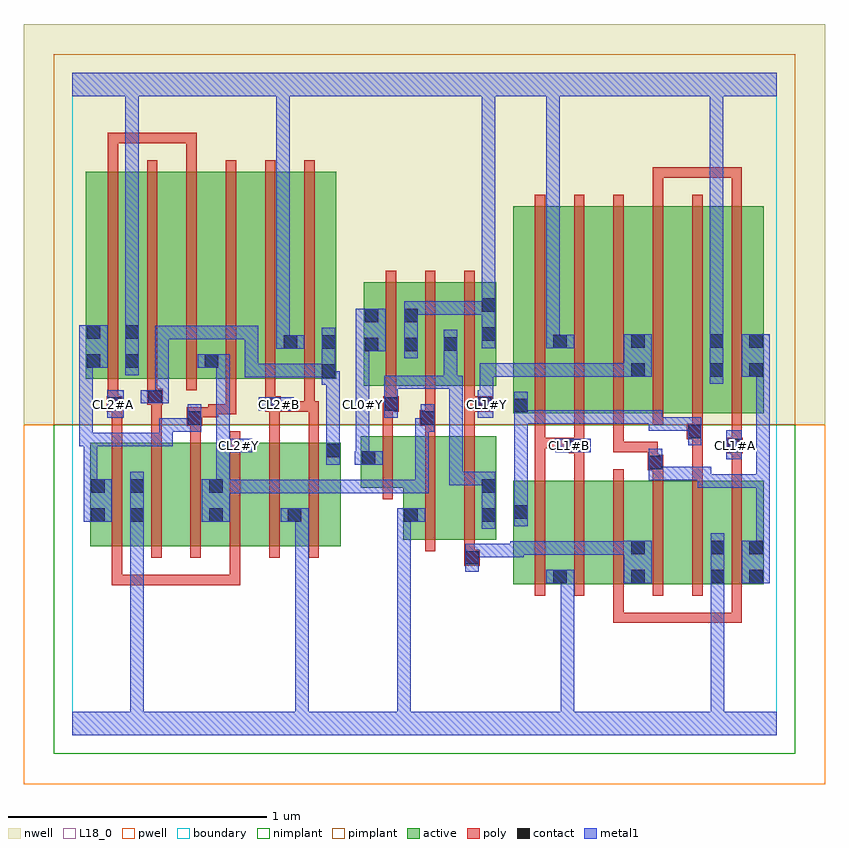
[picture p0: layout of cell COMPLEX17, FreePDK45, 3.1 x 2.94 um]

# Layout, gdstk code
import gdstk
lib = gdstk.Library(unit=1e-6, precision=1e-09)
def R(c, l, rs):  # rectangles x0, y0, x1, y1
    for r in rs: c.add(gdstk.rectangle(r[:2], r[2:], *l))
def A(c, l, x, y, w, h, nx, ny, dx, dy):  # array of equal rectangles
    R(c, l, [(x+i*dx, y+j*dy, x+i*dx+w, y+j*dy+h) for i in range(nx) for j in range(ny)])
active = (1, 0)
pwell = (2, 0)
nwell = (3, 0)
nimplant = (4, 0)
pimplant = (5, 0)
poly = (9, 0)
contact = (10, 0)
metal1 = (11, 0)
L18_0 = (18, 0)
boundary = (235, 0)

complex17 = lib.new_cell('COMPLEX17')
R(complex17, active, [(1.702,0.584,1.914,0.984), (1.854,0.584,2.034,0.984), (1.854,0.584,1.914,0.774), (2.034,0.584,2.214,0.984), (2.154,0.584,2.338,0.984), (2.154,0.584,2.214,0.982), (2.338,0.584,2.522,0.984), (2.462,0.584,2.67,0.984), (2.462,0.584,2.522,0.874), (2.61,0.584,2.67,0.984), (1.702,0.622,1.762,0.984), (0.068,0.73,0.28,1.13), (0.22,0.73,0.4,1.13), (0.4,0.73,0.584,1.13), (0.524,0.73,0.704,1.13), (0.524,0.73,0.584,0.994), (0.704,0.73,0.888,1.13), (0.828,0.73,1.036,1.13), (0.068,0.756,0.128,1.13), (0.22,0.756,0.28,0.994), (0.828,0.756,0.888,1.078), (0.976,0.756,1.036,1.13), (1.278,0.756,1.458,1.156), (1.458,0.756,1.638,1.156), (1.578,0.756,1.638,1.156), (1.278,0.822,1.338,0.956), (1.114,0.956,1.338,1.156), (1.114,0.956,1.174,1.156), (1.702,1.244,1.762,2.044), (1.702,1.244,1.914,2.044), (1.854,1.244,2.034,2.044), (2.034,1.244,2.214,2.044), (2.154,1.244,2.338,2.044), (2.338,1.244,2.518,2.044), (2.458,1.244,2.67,2.044), (2.61,1.244,2.67,2.044), (1.854,1.33,1.914,2.044), (1.126,1.35,1.186,1.75), (1.126,1.35,1.338,1.75), (1.278,1.35,1.49,1.75), (1.43,1.35,1.638,1.75), (1.278,1.352,1.338,1.75), (0.052,1.378,0.112,2.044), (0.052,1.378,0.26,2.178), (0.2,1.378,0.384,2.178), (0.384,1.378,0.568,2.178), (0.508,1.378,0.688,2.178), (0.508,1.378,0.568,2.044), (0.688,1.378,0.872,2.178), (0.812,1.378,1.02,2.178), (0.96,1.378,1.02,2.044), (2.154,1.382,2.214,2.044), (2.458,1.382,2.518,2.044), (0.2,1.41,0.26,2.044), (1.578,1.452,1.638,1.75), (0.812,1.47,0.872,2.044), (1.43,1.482,1.49,1.644)])
R(complex17, pwell, [(-0.188,-0.188,2.908,1.2)])
R(complex17, nwell, [(-0.188,1.2,2.908,2.748)])
R(complex17, nimplant, [(-0.072,-0.072,2.792,1.2)])
R(complex17, pimplant, [(-0.072,1.2,2.792,2.632)])
A(complex17, poly, 1.786, 0.54, 0.04, 0.488, 6, 1, 0.152, 0)
A(complex17, poly, 0.152, 0.686, 0.04, 0.488, 6, 1, 0.152, 0)
A(complex17, poly, 1.786, 1.2, 0.04, 0.888, 6, 1, 0.152, 0)
A(complex17, poly, 1.21, 1.306, 0.04, 0.488, 3, 1, 0.152, 0)
A(complex17, poly, 0.136, 1.334, 0.04, 0.888, 6, 1, 0.152, 0)
R(complex17, poly, [(2.09,0.434,2.13,0.58), (2.09,0.434,2.13,0.474), (2.09,0.434,2.236,0.474), (2.196,0.434,2.236,0.474), (2.196,0.434,2.236,0.474), (2.196,0.434,2.236,0.474), (2.196,0.434,2.464,0.474), (2.424,0.434,2.464,0.474), (2.424,0.434,2.464,0.474), (2.424,0.434,2.464,0.474), (2.424,0.434,2.586,0.474), (2.546,0.434,2.586,0.58), (2.546,0.434,2.586,0.474), (2.546,0.434,2.586,0.474), (2.546,0.434,2.586,0.474), (0.152,0.58,0.192,0.726), (0.152,0.58,0.192,0.62), (0.152,0.58,0.298,0.62), (0.258,0.58,0.298,0.62), (0.258,0.58,0.298,0.62), (0.258,0.58,0.298,0.62), (0.258,0.58,0.458,0.62), (0.418,0.58,0.458,0.62), (0.418,0.58,0.458,0.62), (0.418,0.58,0.458,0.62), (0.418,0.58,0.648,0.62), (0.608,0.58,0.648,0.726), (0.608,0.58,0.648,0.62), (0.608,0.58,0.648,0.62), (0.608,0.58,0.648,0.62), (1.514,0.656,1.574,0.716), (1.514,0.676,1.554,0.752), (1.362,0.712,1.402,1.2), (1.514,0.712,1.554,1.2), (1.198,0.912,1.238,1.2), (1.786,0.988,1.826,1.15), (1.938,0.988,1.978,1.13), (2.242,0.988,2.282,1.064), (2.394,0.988,2.434,1.184), (2.546,0.988,2.586,1.13), (2.222,1.024,2.282,1.084), (2.222,1.044,2.262,1.084), (2.222,1.044,2.262,1.084), (2.222,1.044,2.262,1.134), (1.918,1.09,1.978,1.15), (2.53,1.09,2.59,1.15), (2.546,1.09,2.586,1.13), (2.546,1.09,2.586,1.13), (2.09,1.094,2.13,1.24), (2.09,1.094,2.13,1.134), (2.09,1.094,2.262,1.134), (2.222,1.094,2.262,1.134), (1.786,1.11,1.826,1.15), (1.786,1.11,1.826,1.15), (1.786,1.11,1.826,1.15), (1.786,1.11,1.826,1.15), (1.786,1.11,1.826,1.15), (1.786,1.11,1.826,1.24), (1.786,1.11,1.978,1.15), (1.938,1.11,1.978,1.15), (1.938,1.11,1.978,1.15), (1.938,1.11,1.978,1.24), (2.546,1.11,2.586,1.24), (0.152,1.134,0.192,1.29), (0.304,1.134,0.344,1.318), (0.456,1.134,0.496,1.236), (0.76,1.134,0.8,1.29), (0.912,1.134,0.952,1.29), (2.374,1.144,2.434,1.204), (2.394,1.144,2.434,1.184), (2.394,1.144,2.434,1.184), (1.198,1.16,1.238,1.29), (1.362,1.16,1.402,1.236), (1.514,1.16,1.554,1.29), (2.394,1.164,2.434,1.24), (0.442,1.196,0.502,1.268), (1.342,1.196,1.402,1.256), (1.362,1.216,1.402,1.256), (1.362,1.216,1.402,1.256), (1.362,1.216,1.402,1.346), (0.462,1.228,0.564,1.268), (0.524,1.228,0.564,1.28), (0.524,1.24,0.632,1.28), (0.592,1.24,0.632,1.28), (0.592,1.24,0.632,1.28), (0.592,1.24,0.632,1.28), (0.592,1.24,0.632,1.374), (0.132,1.25,0.192,1.31), (0.152,1.25,0.192,1.29), (0.152,1.25,0.192,1.29), (0.744,1.25,0.804,1.31), (0.76,1.25,0.8,1.29), (0.76,1.25,0.8,1.29), (0.76,1.25,0.936,1.29), (0.896,1.25,0.936,1.29), (0.896,1.25,0.936,1.29), (0.896,1.25,0.936,1.29), (0.896,1.25,0.936,1.29), (0.896,1.25,0.936,1.374), (0.896,1.25,0.952,1.29), (1.198,1.25,1.24,1.29), (1.2,1.25,1.24,1.29), (1.2,1.25,1.26,1.31), (1.514,1.25,1.554,1.29), (1.514,1.25,1.554,1.29), (1.514,1.25,1.622,1.31), (0.136,1.27,0.176,1.374), (0.744,1.27,0.784,1.374), (1.21,1.27,1.25,1.346), (1.514,1.27,1.554,1.346), (0.288,1.278,0.348,1.338), (0.304,1.278,0.344,1.318), (0.304,1.278,0.344,1.318), (0.288,1.298,0.328,1.374), (2.242,2.048,2.282,2.194), (2.546,2.048,2.586,2.194), (2.242,2.154,2.282,2.194), (2.242,2.154,2.388,2.194), (2.348,2.154,2.388,2.194), (2.348,2.154,2.388,2.194), (2.348,2.154,2.388,2.194), (2.348,2.154,2.586,2.194), (2.546,2.154,2.586,2.194), (2.546,2.154,2.586,2.194), (2.546,2.154,2.586,2.194), (0.136,2.182,0.176,2.328), (0.44,2.182,0.48,2.328), (0.136,2.288,0.176,2.328), (0.136,2.288,0.176,2.328), (0.136,2.288,0.176,2.328), (0.136,2.288,0.352,2.328), (0.312,2.288,0.352,2.328), (0.312,2.288,0.458,2.328), (0.418,2.288,0.458,2.328), (0.418,2.288,0.48,2.328), (0.44,2.288,0.48,2.328)])
A(complex17, contact, 0.224, 0.826, 0.052, 0.052, 3, 1, 0.304, 0)
R(complex17, contact, [(1.858,0.588,1.91,0.64), (2.158,0.588,2.21,0.64), (2.466,0.588,2.518,0.64), (2.614,0.588,2.666,0.64), (1.518,0.66,1.57,0.712), (2.158,0.7,2.21,0.752), (2.466,0.7,2.518,0.752), (2.614,0.7,2.666,0.752), (0.072,0.826,0.124,0.878), (1.282,0.826,1.334,0.878), (1.582,0.826,1.634,0.878), (1.706,0.836,1.758,0.888), (0.072,0.938,0.124,0.99), (0.224,0.938,0.276,0.99), (0.528,0.938,0.58,0.99), (1.582,0.938,1.634,0.99), (2.226,1.028,2.278,1.08), (1.118,1.046,1.17,1.098), (0.98,1.074,1.032,1.126), (1.922,1.094,1.974,1.146), (2.534,1.094,2.586,1.146), (2.378,1.148,2.43,1.2), (0.446,1.2,0.498,1.252), (1.346,1.2,1.398,1.252), (1.706,1.248,1.758,1.3), (0.136,1.254,0.188,1.306), (0.748,1.254,0.8,1.306), (1.204,1.254,1.256,1.306), (1.566,1.254,1.618,1.306), (0.292,1.282,0.344,1.334), (0.964,1.382,1.016,1.434), (2.158,1.386,2.21,1.438), (2.462,1.386,2.514,1.438), (2.614,1.386,2.666,1.438), (0.056,1.42,0.108,1.472), (0.204,1.42,0.256,1.472), (0.512,1.42,0.564,1.472), (1.13,1.484,1.182,1.536), (1.282,1.484,1.334,1.536), (1.434,1.486,1.486,1.538), (0.816,1.494,0.868,1.546), (0.964,1.494,1.016,1.546), (1.858,1.496,1.91,1.548), (2.158,1.498,2.21,1.55), (2.462,1.498,2.514,1.55), (2.614,1.498,2.666,1.55), (1.582,1.524,1.634,1.576), (0.056,1.532,0.108,1.584), (0.204,1.532,0.256,1.584), (1.13,1.596,1.182,1.648), (1.282,1.596,1.334,1.648), (1.582,1.636,1.634,1.688)])
A(complex17, metal1, 1.896, 1.204, 0.052, 0.052, 3, 1, 0.11, 0)
A(complex17, metal1, 1.896, 1.204, 0.162, 0.052, 3, 1, 0.11, 0)
R(complex17, metal1, [(0,0,2.72,0.092), (0.224,0.04,0.276,0.092), (0.224,0.04,0.276,0.092), (0.224,0.04,0.276,0.092), (0.224,0.04,0.276,0.092), (0.224,0.04,0.276,0.092), (0.224,0.04,0.276,0.092), (0.224,0.04,0.276,0.092), (0.224,0.04,0.276,0.092), (0.224,0.04,0.276,0.092), (0.224,0.04,0.276,0.092), (0.224,0.04,0.276,0.85), (0.86,0.04,0.912,0.092), (0.86,0.04,0.912,0.092), (0.86,0.04,0.912,0.092), (0.86,0.04,0.912,0.092), (0.86,0.04,0.912,0.092), (0.86,0.04,0.912,0.092), (0.86,0.04,0.912,0.092), (0.86,0.04,0.912,0.092), (0.86,0.04,0.912,0.878), (1.254,0.04,1.306,0.092), (1.254,0.04,1.306,0.092), (1.254,0.04,1.306,0.092), (1.254,0.04,1.306,0.092), (1.254,0.04,1.306,0.092), (1.254,0.04,1.306,0.092), (1.254,0.04,1.306,0.092), (1.254,0.04,1.306,0.092), (1.254,0.04,1.306,0.092), (1.254,0.04,1.306,0.092), (1.254,0.04,1.306,0.092), (1.254,0.04,1.306,0.092), (1.254,0.04,1.306,0.878), (1.886,0.04,1.938,0.092), (1.886,0.04,1.938,0.092), (1.886,0.04,1.938,0.092), (1.886,0.04,1.938,0.092), (1.886,0.04,1.938,0.092), (1.886,0.04,1.938,0.092), (1.886,0.04,1.938,0.092), (1.886,0.04,1.938,0.092), (1.886,0.04,1.938,0.092), (1.886,0.04,1.938,0.092), (1.886,0.04,1.938,0.092), (1.886,0.04,1.938,0.092), (1.886,0.04,1.938,0.64), (2.466,0.04,2.518,0.092), (2.466,0.04,2.518,0.092), (2.466,0.04,2.518,0.092), (2.466,0.04,2.518,0.092), (2.466,0.04,2.518,0.092), (2.466,0.04,2.518,0.092), (2.466,0.04,2.518,0.612), (2.466,0.56,2.518,0.612), (2.466,0.56,2.518,0.612), (2.466,0.56,2.518,0.612), (2.466,0.56,2.518,0.612), (2.466,0.56,2.518,0.612), (2.466,0.56,2.518,0.612), (2.466,0.56,2.518,0.78), (1.83,0.588,1.938,0.64), (2.13,0.588,2.238,0.752), (2.586,0.588,2.694,0.752), (1.518,0.632,1.57,0.74), (1.518,0.688,1.626,0.74), (1.574,0.688,1.626,0.74), (1.574,0.688,1.626,0.74), (1.574,0.688,1.626,0.74), (1.574,0.688,1.626,0.74), (1.574,0.688,1.626,0.74), (1.574,0.688,1.744,0.74), (1.692,0.688,1.744,0.74), (1.692,0.688,1.744,0.75), (1.692,0.698,1.744,0.75), (1.692,0.698,1.744,0.75), (1.692,0.698,1.744,0.75), (1.692,0.698,1.868,0.75), (1.816,0.698,1.868,0.75), (1.816,0.698,1.868,0.75), (1.816,0.698,1.868,0.75), (1.816,0.698,1.868,0.75), (1.816,0.698,1.868,0.75), (1.816,0.698,2.058,0.75), (2.006,0.698,2.058,0.75), (2.006,0.698,2.058,0.75), (2.006,0.698,2.058,0.75), (2.006,0.698,2.182,0.75), (2.642,0.7,2.694,1.008), (0.224,0.798,0.276,0.85), (0.224,0.798,0.276,0.85), (0.224,0.798,0.276,1.018), (1.582,0.798,1.634,1.018), (1.706,0.808,1.758,0.916), (0.044,0.826,0.152,0.99), (0.5,0.826,0.608,0.99), (0.804,0.826,0.912,0.878), (0.86,0.826,0.912,0.878), (0.86,0.826,0.912,0.878), (0.86,0.826,0.912,0.878), (0.86,0.826,0.912,0.878), (1.254,0.826,1.362,0.878), (1.706,0.864,1.758,1.256), (0.556,0.936,0.608,0.988), (0.556,0.936,0.608,0.988), (0.556,0.936,0.73,0.988), (0.678,0.936,0.73,0.988), (0.678,0.936,0.73,0.988), (0.678,0.936,0.73,0.988), (0.678,0.936,0.84,0.988), (0.788,0.936,0.84,0.988), (0.788,0.936,0.84,0.988), (0.788,0.936,0.84,0.988), (0.788,0.936,0.84,0.988), (0.788,0.936,0.84,0.988), (0.788,0.936,1.03,0.988), (0.978,0.936,1.03,0.988), (0.978,0.936,1.03,0.988), (0.978,0.936,1.03,0.988), (0.978,0.936,1.196,0.988), (1.144,0.936,1.196,0.988), (1.144,0.936,1.376,0.988), (1.324,0.936,1.376,0.988), (1.324,0.936,1.376,0.988), (1.324,0.936,1.376,0.988), (1.324,0.936,1.376,1.224), (0.044,0.938,0.096,1.168), (0.556,0.938,0.608,1.146), (2.416,0.956,2.694,1.008), (2.416,0.956,2.468,1.038), (2.642,0.956,2.694,1.438), (2.642,0.956,2.694,1.008), (2.642,0.956,2.694,1.008), (2.642,0.956,2.694,1.008), (2.642,0.956,2.694,1.008), (2.642,0.956,2.694,1.008), (1.456,0.966,1.508,1.018), (1.456,0.966,1.634,1.018), (1.456,0.966,1.508,1.39), (1.582,0.966,1.634,1.018), (1.582,0.966,1.634,1.018), (1.582,0.966,1.634,1.018), (1.582,0.966,1.634,1.018), (2.226,0.986,2.468,1.038), (2.226,0.986,2.278,1.052), (2.416,0.986,2.468,1.038), (2.416,0.986,2.468,1.038), (2.226,1,2.278,1.052), (2.226,1,2.278,1.108), (0.98,1.046,1.032,1.154), (1.09,1.046,1.198,1.098), (1.094,1.046,1.146,1.278), (2.526,1.066,2.586,1.178), (0.556,1.094,0.608,1.472), (0.556,1.094,0.694,1.146), (1.866,1.094,2.002,1.146), (0.98,1.102,1.032,1.406), (0.026,1.116,0.078,1.168), (0.026,1.116,0.078,1.168), (0.026,1.116,0.078,1.472), (0.026,1.116,0.096,1.168), (0.044,1.116,0.096,1.168), (0.044,1.116,0.096,1.168), (0.044,1.116,0.206,1.168), (0.154,1.116,0.206,1.168), (0.154,1.116,0.388,1.168), (0.336,1.116,0.388,1.168), (0.336,1.116,0.388,1.168), (0.336,1.116,0.388,1.224), (2.378,1.12,2.43,1.228), (0.336,1.172,0.498,1.224), (0.446,1.172,0.498,1.28), (1.324,1.172,1.376,1.224), (1.324,1.172,1.398,1.224), (1.346,1.172,1.398,1.28), (2.226,1.176,2.43,1.228), (2.226,1.176,2.278,1.256), (1.706,1.204,1.758,1.256), (1.706,1.204,1.758,1.256), (1.706,1.204,1.758,1.256), (1.706,1.204,1.758,1.256), (1.706,1.204,1.758,1.256), (1.706,1.204,1.948,1.256), (1.706,1.204,1.758,1.272), (1.896,1.204,1.948,1.256), (1.896,1.204,1.948,1.256), (2.116,1.204,2.168,1.256), (2.116,1.204,2.168,1.256), (2.226,1.204,2.278,1.256), (2.226,1.204,2.278,1.256), (1.706,1.22,1.758,1.328), (0.134,1.226,0.198,1.334), (1.094,1.226,1.146,1.334), (1.204,1.226,1.256,1.334), (1.566,1.226,1.626,1.334), (0.72,1.254,0.854,1.306), (0.264,1.282,0.372,1.334), (0.32,1.282,0.372,1.334), (0.32,1.282,0.372,1.334), (0.32,1.282,0.372,1.582), (1.094,1.282,1.146,1.536), (1.204,1.282,1.256,1.334), (1.204,1.282,1.256,1.39), (1.574,1.282,1.626,1.334), (1.574,1.282,1.626,1.334), (1.574,1.282,1.626,1.334), (1.574,1.282,1.626,1.334), (1.574,1.282,1.626,1.438), (1.204,1.338,1.406,1.39), (1.354,1.338,1.406,1.39), (1.354,1.338,1.486,1.39), (1.434,1.338,1.486,1.51), (1.434,1.338,1.508,1.39), (0.964,1.354,1.016,1.406), (0.964,1.354,1.016,1.574), (0.964,1.354,1.032,1.406), (0.98,1.354,1.032,1.406), (0.98,1.354,1.032,1.406), (2.462,1.358,2.514,1.578), (0.666,1.384,0.718,1.436), (0.666,1.384,0.718,1.436), (0.666,1.384,0.718,1.436), (0.666,1.384,0.906,1.436), (0.666,1.384,0.718,1.582), (0.854,1.384,0.906,1.436), (0.854,1.384,0.906,1.436), (0.854,1.384,0.906,1.436), (0.854,1.384,1.016,1.436), (1.574,1.386,1.626,1.438), (1.574,1.386,1.744,1.438), (1.692,1.386,1.744,1.438), (1.692,1.386,1.744,1.438), (1.692,1.386,1.744,1.438), (1.692,1.386,1.948,1.438), (1.896,1.386,1.948,1.438), (1.896,1.386,1.948,1.438), (1.896,1.386,1.948,1.438), (1.896,1.386,1.948,1.438), (1.896,1.386,1.948,1.438), (1.896,1.386,2.058,1.438), (2.006,1.386,2.058,1.438), (2.006,1.386,2.058,1.438), (2.006,1.386,2.058,1.438), (2.006,1.386,2.182,1.438), (2.13,1.386,2.238,1.55), (2.586,1.386,2.694,1.55), (0.204,1.392,0.256,1.612), (0.026,1.42,0.136,1.584), (0.484,1.42,0.592,1.472), (0.54,1.42,0.592,1.472), (0.54,1.42,0.608,1.472), (1.282,1.456,1.334,1.676), (1.434,1.458,1.486,1.566), (1.094,1.484,1.146,1.536), (1.094,1.484,1.146,1.536), (1.094,1.484,1.21,1.648), (0.788,1.494,0.896,1.546), (0.788,1.494,0.84,2.52), (1.582,1.496,1.634,1.716), (1.83,1.496,1.882,2.52), (1.83,1.496,1.938,1.548), (2.462,1.526,2.514,2.52), (0.32,1.53,0.372,1.582), (0.32,1.53,0.372,1.582), (0.32,1.53,0.372,1.582), (0.32,1.53,0.498,1.582), (0.446,1.53,0.498,1.582), (0.446,1.53,0.608,1.582), (0.556,1.53,0.608,1.582), (0.556,1.53,0.608,1.582), (0.556,1.53,0.608,1.582), (0.556,1.53,0.718,1.582), (0.666,1.53,0.718,1.582), (0.204,1.56,0.256,2.52), (1.282,1.624,1.406,1.676), (1.354,1.624,1.406,1.676), (1.354,1.624,1.516,1.676), (1.464,1.624,1.516,1.676), (1.464,1.624,1.516,1.676), (1.464,1.624,1.516,1.676), (1.464,1.624,1.634,1.676), (1.582,1.664,1.634,1.716), (1.582,1.664,1.634,1.716), (1.582,1.664,1.634,1.716), (1.582,1.664,1.634,1.716), (1.582,1.664,1.634,1.716), (1.582,1.664,1.634,1.716), (1.582,1.664,1.634,2.52), (0,2.468,2.72,2.56), (0.204,2.468,0.256,2.52), (0.204,2.468,0.256,2.52), (0.204,2.468,0.256,2.52), (0.204,2.468,0.256,2.52), (0.204,2.468,0.256,2.52), (0.204,2.468,0.256,2.52), (0.204,2.468,0.256,2.52), (0.204,2.468,0.256,2.52), (0.788,2.468,0.84,2.52), (0.788,2.468,0.84,2.52), (0.788,2.468,0.84,2.52), (0.788,2.468,0.84,2.52), (0.788,2.468,0.84,2.52), (0.788,2.468,0.84,2.52), (0.788,2.468,0.84,2.52), (0.788,2.468,0.84,2.52), (1.582,2.468,1.634,2.52), (1.582,2.468,1.634,2.52), (1.582,2.468,1.634,2.52), (1.582,2.468,1.634,2.52), (1.582,2.468,1.634,2.52), (1.582,2.468,1.634,2.52), (1.582,2.468,1.634,2.52), (1.582,2.468,1.634,2.52), (1.582,2.468,1.634,2.52), (1.582,2.468,1.634,2.52), (1.83,2.468,1.882,2.52), (1.83,2.468,1.882,2.52), (1.83,2.468,1.882,2.52), (1.83,2.468,1.882,2.52), (1.83,2.468,1.882,2.52), (1.83,2.468,1.882,2.52), (1.83,2.468,1.882,2.52), (1.83,2.468,1.882,2.52), (2.462,2.468,2.514,2.52), (2.462,2.468,2.514,2.52), (2.462,2.468,2.514,2.52), (2.462,2.468,2.514,2.52), (2.462,2.468,2.514,2.52), (2.462,2.468,2.514,2.52), (2.462,2.468,2.514,2.52), (2.462,2.468,2.514,2.52)])
R(complex17, L18_0, [(0,0,2.72,0.092), (0.224,0.04,0.276,0.092), (0.224,0.04,0.276,0.092), (0.224,0.04,0.276,0.092), (0.224,0.04,0.276,0.092), (0.224,0.04,0.276,0.092), (0.224,0.04,0.276,0.092), (0.224,0.04,0.276,0.092), (0.224,0.04,0.276,0.092), (0.224,0.04,0.276,0.092), (0.224,0.04,0.276,0.092), (0.224,0.04,0.276,0.85), (0.86,0.04,0.912,0.092), (0.86,0.04,0.912,0.092), (0.86,0.04,0.912,0.092), (0.86,0.04,0.912,0.092), (0.86,0.04,0.912,0.092), (0.86,0.04,0.912,0.092), (0.86,0.04,0.912,0.092), (0.86,0.04,0.912,0.092), (0.86,0.04,0.912,0.878), (1.254,0.04,1.306,0.092), (1.254,0.04,1.306,0.092), (1.254,0.04,1.306,0.092), (1.254,0.04,1.306,0.092), (1.254,0.04,1.306,0.092), (1.254,0.04,1.306,0.092), (1.254,0.04,1.306,0.092), (1.254,0.04,1.306,0.092), (1.254,0.04,1.306,0.092), (1.254,0.04,1.306,0.092), (1.254,0.04,1.306,0.092), (1.254,0.04,1.306,0.092), (1.254,0.04,1.306,0.878), (1.886,0.04,1.938,0.092), (1.886,0.04,1.938,0.092), (1.886,0.04,1.938,0.092), (1.886,0.04,1.938,0.092), (1.886,0.04,1.938,0.092), (1.886,0.04,1.938,0.092), (1.886,0.04,1.938,0.092), (1.886,0.04,1.938,0.092), (1.886,0.04,1.938,0.092), (1.886,0.04,1.938,0.092), (1.886,0.04,1.938,0.092), (1.886,0.04,1.938,0.092), (1.886,0.04,1.938,0.64), (2.466,0.04,2.518,0.092), (2.466,0.04,2.518,0.092), (2.466,0.04,2.518,0.092), (2.466,0.04,2.518,0.092), (2.466,0.04,2.518,0.092), (2.466,0.04,2.518,0.092), (2.466,0.04,2.518,0.612), (2.466,0.56,2.518,0.612), (2.466,0.56,2.518,0.612), (2.466,0.56,2.518,0.612), (2.466,0.56,2.518,0.612), (2.466,0.56,2.518,0.612), (2.466,0.56,2.518,0.612), (2.466,0.56,2.518,0.78), (1.83,0.588,1.938,0.64), (2.13,0.588,2.238,0.752), (1.518,0.632,1.57,0.74), (1.518,0.688,1.626,0.74), (1.574,0.688,1.626,0.74), (1.574,0.688,1.626,0.74), (1.574,0.688,1.626,0.74), (1.574,0.688,1.626,0.74), (1.574,0.688,1.626,0.74), (1.574,0.688,1.744,0.74), (1.692,0.688,1.744,0.74), (1.692,0.688,1.744,0.75), (1.692,0.698,1.744,0.75), (1.692,0.698,1.744,0.75), (1.692,0.698,1.744,0.75), (1.692,0.698,1.868,0.75), (1.816,0.698,1.868,0.75), (1.816,0.698,1.868,0.75), (1.816,0.698,1.868,0.75), (1.816,0.698,1.868,0.75), (1.816,0.698,1.868,0.75), (1.816,0.698,2.058,0.75), (2.006,0.698,2.058,0.75), (2.006,0.698,2.058,0.75), (2.006,0.698,2.058,0.75), (2.006,0.698,2.182,0.75), (0.224,0.798,0.276,0.85), (0.224,0.798,0.276,0.85), (0.224,0.798,0.276,1.018), (0.5,0.826,0.608,0.99), (0.804,0.826,0.912,0.878), (0.86,0.826,0.912,0.878), (0.86,0.826,0.912,0.878), (0.86,0.826,0.912,0.878), (0.86,0.826,0.912,0.878), (1.254,0.826,1.362,0.878), (0.556,0.936,0.608,0.988), (0.556,0.936,0.608,0.988), (0.556,0.936,0.73,0.988), (0.678,0.936,0.73,0.988), (0.678,0.936,0.73,0.988), (0.678,0.936,0.73,0.988), (0.678,0.936,0.84,0.988), (0.788,0.936,0.84,0.988), (0.788,0.936,0.84,0.988), (0.788,0.936,0.84,0.988), (0.788,0.936,0.84,0.988), (0.788,0.936,0.84,0.988), (0.788,0.936,1.03,0.988), (0.978,0.936,1.03,0.988), (0.978,0.936,1.03,0.988), (0.978,0.936,1.03,0.988), (0.978,0.936,1.196,0.988), (1.144,0.936,1.196,0.988), (1.144,0.936,1.376,0.988), (1.324,0.936,1.376,0.988), (1.324,0.936,1.376,0.988), (1.324,0.936,1.376,0.988), (1.324,0.936,1.376,1.224), (0.556,0.938,0.608,1.146), (1.09,1.046,1.198,1.098), (1.094,1.046,1.146,1.278), (2.526,1.066,2.586,1.178), (0.556,1.094,0.694,1.146), (0.556,1.094,0.608,1.472), (0.614,1.094,0.666,1.146), (1.866,1.094,2.002,1.146), (1.894,1.094,1.946,1.146), (2.534,1.094,2.586,1.146), (1.324,1.172,1.376,1.224), (1.324,1.172,1.398,1.224), (1.346,1.172,1.398,1.28), (0.134,1.226,0.198,1.334), (1.094,1.226,1.146,1.334), (1.566,1.226,1.626,1.334), (0.134,1.254,0.186,1.306), (0.72,1.254,0.854,1.306), (0.774,1.254,0.826,1.306), (1.094,1.254,1.146,1.306), (1.574,1.254,1.626,1.306), (1.094,1.282,1.146,1.536), (1.574,1.282,1.626,1.334), (1.574,1.282,1.626,1.334), (1.574,1.282,1.626,1.334), (1.574,1.282,1.626,1.334), (1.574,1.282,1.626,1.438), (2.462,1.358,2.514,1.578), (1.574,1.386,1.626,1.438), (1.574,1.386,1.744,1.438), (1.692,1.386,1.744,1.438), (1.692,1.386,1.744,1.438), (1.692,1.386,1.744,1.438), (1.692,1.386,1.948,1.438), (1.896,1.386,1.948,1.438), (1.896,1.386,1.948,1.438), (1.896,1.386,1.948,1.438), (1.896,1.386,1.948,1.438), (1.896,1.386,1.948,1.438), (1.896,1.386,2.058,1.438), (2.006,1.386,2.058,1.438), (2.006,1.386,2.058,1.438), (2.006,1.386,2.058,1.438), (2.006,1.386,2.182,1.438), (2.13,1.386,2.238,1.55), (0.204,1.392,0.256,1.612), (0.484,1.42,0.592,1.472), (0.54,1.42,0.592,1.472), (0.54,1.42,0.608,1.472), (1.282,1.456,1.334,1.676), (1.094,1.484,1.146,1.536), (1.094,1.484,1.146,1.536), (1.094,1.484,1.21,1.648), (0.788,1.494,0.896,1.546), (0.788,1.494,0.84,2.52), (1.582,1.496,1.634,1.716), (1.83,1.496,1.938,1.548), (1.83,1.496,1.882,2.52), (2.462,1.526,2.514,2.52), (0.204,1.56,0.256,2.52), (1.282,1.624,1.406,1.676), (1.354,1.624,1.406,1.676), (1.354,1.624,1.516,1.676), (1.464,1.624,1.516,1.676), (1.464,1.624,1.516,1.676), (1.464,1.624,1.516,1.676), (1.464,1.624,1.634,1.676), (1.582,1.664,1.634,1.716), (1.582,1.664,1.634,1.716), (1.582,1.664,1.634,1.716), (1.582,1.664,1.634,1.716), (1.582,1.664,1.634,1.716), (1.582,1.664,1.634,1.716), (1.582,1.664,1.634,2.52), (0,2.468,2.72,2.56), (0.204,2.468,0.256,2.52), (0.204,2.468,0.256,2.52), (0.204,2.468,0.256,2.52), (0.204,2.468,0.256,2.52), (0.204,2.468,0.256,2.52), (0.204,2.468,0.256,2.52), (0.204,2.468,0.256,2.52), (0.204,2.468,0.256,2.52), (0.788,2.468,0.84,2.52), (0.788,2.468,0.84,2.52), (0.788,2.468,0.84,2.52), (0.788,2.468,0.84,2.52), (0.788,2.468,0.84,2.52), (0.788,2.468,0.84,2.52), (0.788,2.468,0.84,2.52), (0.788,2.468,0.84,2.52), (1.582,2.468,1.634,2.52), (1.582,2.468,1.634,2.52), (1.582,2.468,1.634,2.52), (1.582,2.468,1.634,2.52), (1.582,2.468,1.634,2.52), (1.582,2.468,1.634,2.52), (1.582,2.468,1.634,2.52), (1.582,2.468,1.634,2.52), (1.582,2.468,1.634,2.52), (1.582,2.468,1.634,2.52), (1.83,2.468,1.882,2.52), (1.83,2.468,1.882,2.52), (1.83,2.468,1.882,2.52), (1.83,2.468,1.882,2.52), (1.83,2.468,1.882,2.52), (1.83,2.468,1.882,2.52), (1.83,2.468,1.882,2.52), (1.83,2.468,1.882,2.52), (2.462,2.468,2.514,2.52), (2.462,2.468,2.514,2.52), (2.462,2.468,2.514,2.52), (2.462,2.468,2.514,2.52), (2.462,2.468,2.514,2.52), (2.462,2.468,2.514,2.52), (2.462,2.468,2.514,2.52), (2.462,2.468,2.514,2.52)])
R(complex17, boundary, [(0,0,2.72,2.56)])
complex17.add(gdstk.Label('CL0#Y', (1.12,1.28), layer=11, texttype=0))
complex17.add(gdstk.Label('CL1#A', (2.56,1.12), layer=11, texttype=0))
complex17.add(gdstk.Label('CL1#B', (1.92,1.12), layer=11, texttype=0))
complex17.add(gdstk.Label('CL1#Y', (1.6,1.28), layer=11, texttype=0))
complex17.add(gdstk.Label('CL2#A', (0.16,1.28), layer=11, texttype=0))
complex17.add(gdstk.Label('CL2#B', (0.8,1.28), layer=11, texttype=0))
complex17.add(gdstk.Label('CL2#Y', (0.64,1.12), layer=11, texttype=0))

lib.write_gds('COMPLEX17.gds')
